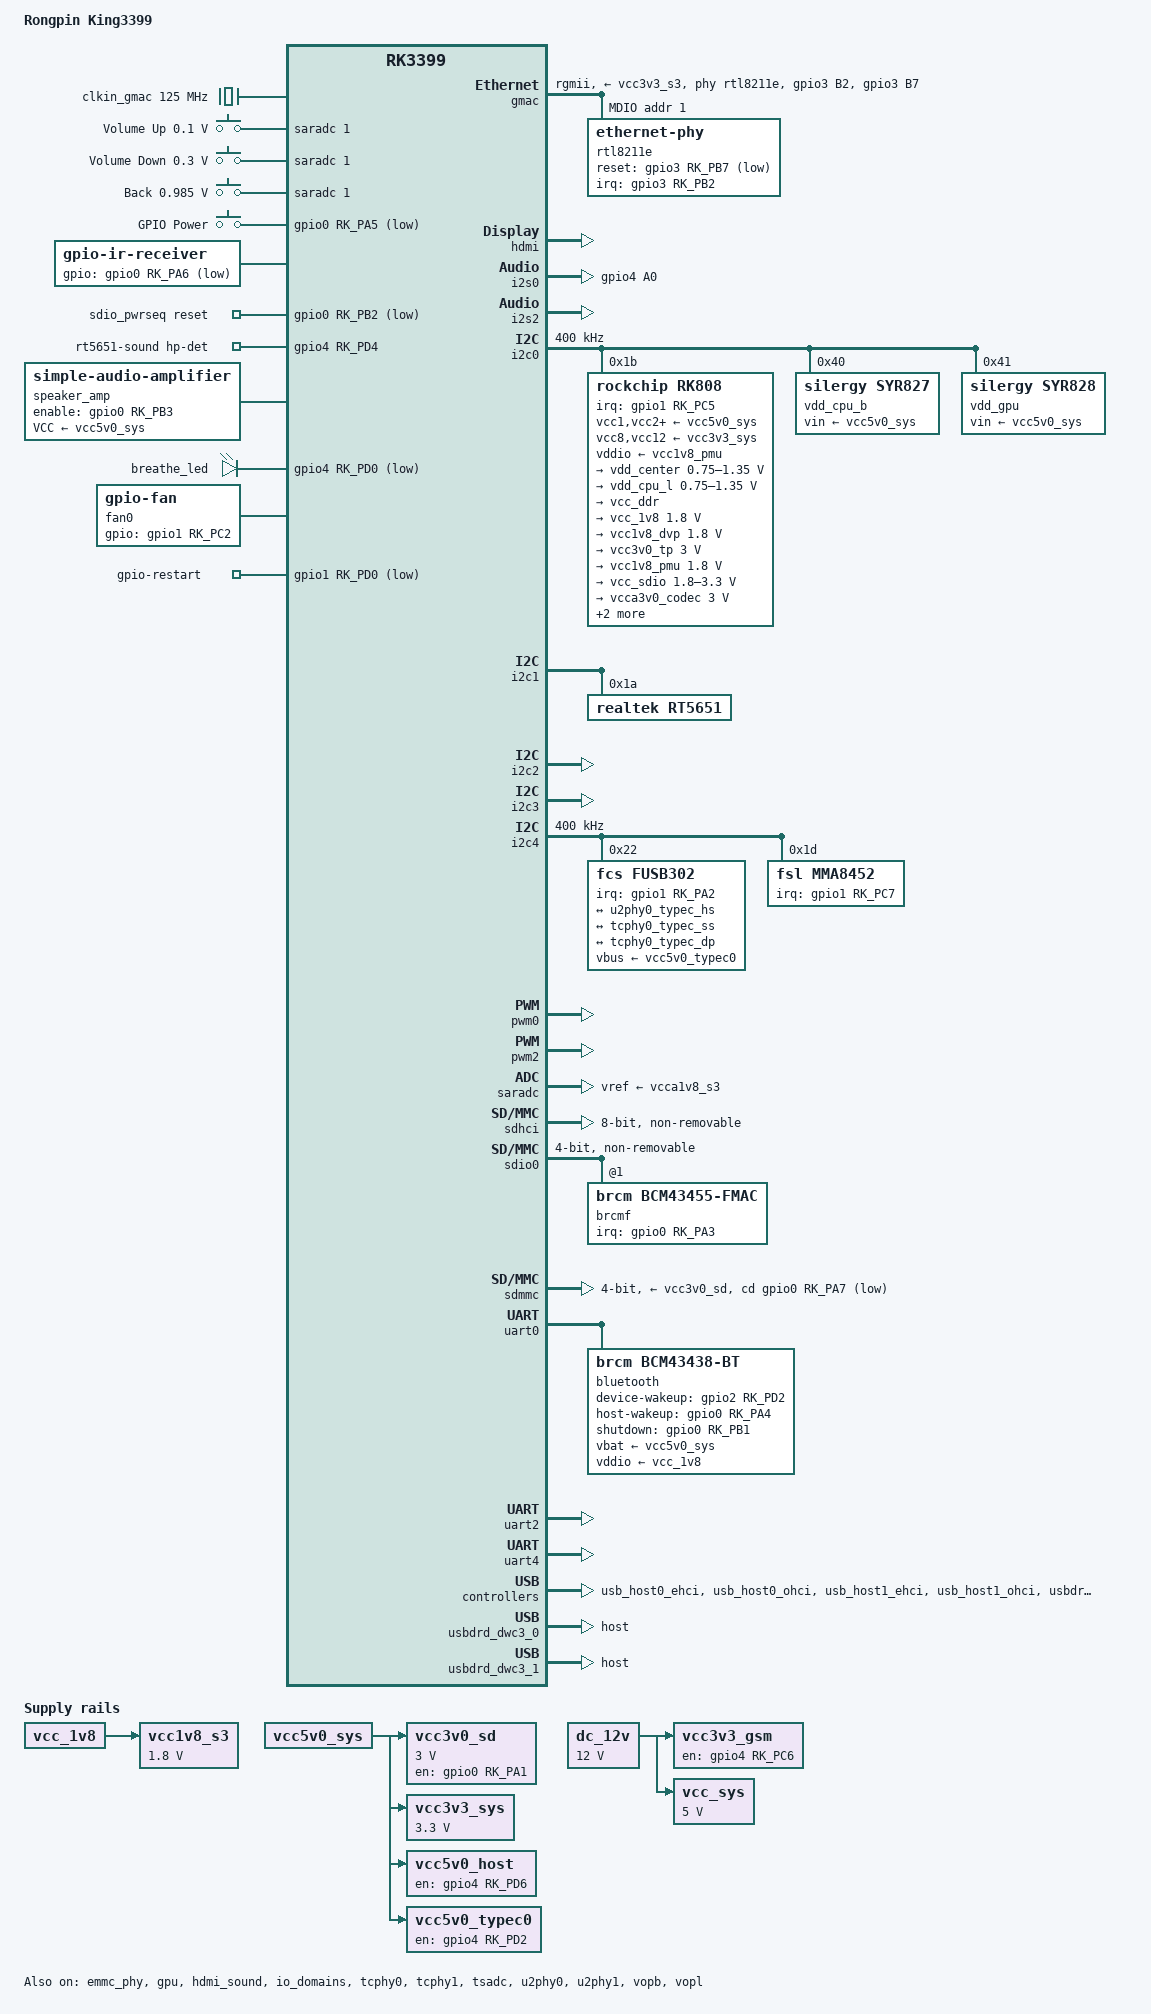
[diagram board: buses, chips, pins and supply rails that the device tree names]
// SPDX-License-Identifier: (GPL-2.0+ OR MIT)
/*
 * Copyright (c) 2017 Fuzhou Rockchip Electronics Co., Ltd.
 */

/dts-v1/;

#include <dt-bindings/pwm/pwm.h>
#include <dt-bindings/input/input.h>
#include <dt-bindings/usb/pd.h>
#include "rk3399.dtsi"
#include "rk3399-opp.dtsi"

/ {
	model = "Rongpin King3399";
	compatible = "rongpin,king3399", "rockchip,rk3399";

	aliases {
		led-boot = &breathe_led;
		led-failsafe = &breathe_led;
		led-running = &breathe_led;
		led-upgrade = &breathe_led;
		mmc0 = &sdio0;
		mmc1 = &sdmmc;
		mmc2 = &sdhci;
	};

	chosen {
		stdout-path = "serial2:1500000n8";
	};

	clkin_gmac: external-gmac-clock {
		compatible = "fixed-clock";
		clock-frequency = <125000000>;
		clock-output-names = "clkin_gmac";
		#clock-cells = <0>;
	};

	adc-keys {
		compatible = "adc-keys";
		io-channels = <&saradc 1>;
		io-channel-names = "buttons";
		keyup-threshold-microvolt = <1800000>;
		poll-interval = <100>;

		button-up {
			label = "Volume Up";
			linux,code = <KEY_VOLUMEUP>;
			press-threshold-microvolt = <100000>;
		};

		button-down {
			label = "Volume Down";
			linux,code = <KEY_VOLUMEDOWN>;
			press-threshold-microvolt = <300000>;
		};

		back {
			label = "Back";
			linux,code = <KEY_BACK>;
			press-threshold-microvolt = <985000>;
		};
	};

	keys: gpio-keys {
		compatible = "gpio-keys"; // poweroff not sure
		autorepeat;

		power {
			debounce-interval = <100>;
			gpios = <&gpio0 RK_PA5 GPIO_ACTIVE_LOW>;
			label = "GPIO Power";
			linux,code = <KEY_RESTART>;
			linux,input-type = <1>;
			pinctrl-names = "default";
			pinctrl-0 = <&pwr_btn>;
			wakeup-source;
		};
	};

	ir-receiver {
		compatible = "gpio-ir-receiver";
		gpios = <&gpio0 RK_PA6 GPIO_ACTIVE_LOW>; // bsp
		pinctrl-names = "default";
		pinctrl-0 = <&ir_int>;
	};

	backlight: backlight {
		status = "disabled";
		compatible = "pwm-backlight";
		brightness-levels = <
			  0   1   2   3   4   5   6   7
			  8   9  10  11  12  13  14  15
			 16  17  18  19  20  21  22  23
			 24  25  26  27  28  29  30  31
			 32  33  34  35  36  37  38  39
			 40  41  42  43  44  45  46  47
			 48  49  50  51  52  53  54  55
			 56  57  58  59  60  61  62  63
			 64  65  66  67  68  69  70  71
			 72  73  74  75  76  77  78  79
			 80  81  82  83  84  85  86  87
			 88  89  90  91  92  93  94  95
			 96  97  98  99 100 101 102 103
			104 105 106 107 108 109 110 111
			112 113 114 115 116 117 118 119
			120 121 122 123 124 125 126 127
			128 129 130 131 132 133 134 135
			136 137 138 139 140 141 142 143
			144 145 146 147 148 149 150 151
			152 153 154 155 156 157 158 159
			160 161 162 163 164 165 166 167
			168 169 170 171 172 173 174 175
			176 177 178 179 180 181 182 183
			184 185 186 187 188 189 190 191
			192 193 194 195 196 197 198 199
			200 201 202 203 204 205 206 207
			208 209 210 211 212 213 214 215
			216 217 218 219 220 221 222 223
			224 225 226 227 228 229 230 231
			232 233 234 235 236 237 238 239
			240 241 242 243 244 245 246 247
			248 249 250 251 252 253 254 255>;
		default-brightness-level = <200>;
		enable-gpios = <&gpio1 RK_PB5 GPIO_ACTIVE_HIGH>;
		pwms = <&pwm0 0 25000 0>;
	};

	sdio_pwrseq: sdio-pwrseq {
		compatible = "mmc-pwrseq-simple";
		clocks = <&rk808 1>;
		clock-names = "ext_clock";
		pinctrl-names = "default";
		pinctrl-0 = <&wifi_reg_on_h>;

		/*
		 * On the module itself this is one of these (depending
		 * on the actual card populated):
		 * - SDIO_RESET_L_WL_REG_ON
		 * - PDN (power down when low)
		 */
		reset-gpios = <&gpio0 RK_PB2 GPIO_ACTIVE_LOW>;
	};

	/* switched by pmic_sleep */
	vcc1v8_s3: vcca1v8_s3: vcc1v8-s3 {
		compatible = "regulator-fixed";
		regulator-name = "vcc1v8_s3";
		regulator-always-on;
		regulator-boot-on;
		regulator-min-microvolt = <1800000>;
		regulator-max-microvolt = <1800000>;
		vin-supply = <&vcc_1v8>;
	};

	vcc3v0_sd: vcc3v0-sd {
		compatible = "regulator-fixed";
		enable-active-high;
		gpio = <&gpio0 RK_PA1 GPIO_ACTIVE_HIGH>; // bsp
		pinctrl-names = "default";
		pinctrl-0 = <&sdmmc0_pwr_h>;
		regulator-boot-on;
		regulator-max-microvolt = <3000000>;
		regulator-min-microvolt = <3000000>;
		regulator-name = "vcc3v0_sd";
		vin-supply = <&vcc5v0_sys>;
	};

	vcc3v3_sys: vcc3v3-sys {
		compatible = "regulator-fixed";
		regulator-name = "vcc3v3_sys";
		regulator-always-on;
		regulator-boot-on;
		regulator-min-microvolt = <3300000>;
		regulator-max-microvolt = <3300000>;
		vin-supply = <&vcc5v0_sys>;
	};

	// 4G Module
	vcc3v3_gsm: vcc3v3-gsm {
		compatible = "regulator-fixed";
		enable-active-high;
		gpio = <&gpio4 RK_PC6 GPIO_ACTIVE_HIGH>; // bsp
		pinctrl-names = "default";
		pinctrl-0 = <&vcc3v3_gsm_en>;
		regulator-name = "vcc3v3_gsm";
		// regulator-always-on;
		vin-supply = <&dc_12v>;
	};

	// vdd 5v: USB 2&3, USB Hub, Type-C, HDMI, MIPI, IR
	vcc5v0_host: vcc5v0-host-regulator {
		compatible = "regulator-fixed";
		enable-active-high;
		regulator-boot-on;
		gpio = <&gpio4 RK_PD6 GPIO_ACTIVE_HIGH>; // bsp
		pinctrl-names = "default";
		pinctrl-0 = <&vcc5v0_host_en>;
		regulator-name = "vcc5v0_host";
		// regulator-always-on;
		vin-supply = <&vcc5v0_sys>;
	};

	vcc5v0_typec0: vbus-typec-regulator {
		compatible = "regulator-fixed";
		enable-active-high;
		gpio = <&gpio4 RK_PD2 GPIO_ACTIVE_HIGH>; // bsp
		pinctrl-names = "default";
		pinctrl-0 = <&vcc5v0_typec_en>;
		regulator-name = "vcc5v0_typec0";
		vin-supply = <&vcc5v0_sys>;
	};

	vcc_sys: vcc5v0_sys: vcc5v0-sys { // bsp
		compatible = "regulator-fixed";
		regulator-name = "vcc5v0_sys";
		regulator-always-on;
		regulator-boot-on;
		regulator-min-microvolt = <5000000>;
		regulator-max-microvolt = <5000000>;
		vin-supply = <&dc_12v>;
	};


	dc_12v: vdd_12v: dc-12v { // dc_12v vdd_12V
		compatible = "regulator-fixed";
		regulator-name = "dc_12v";
		regulator-always-on;
		regulator-boot-on;
		regulator-min-microvolt = <12000000>;
		regulator-max-microvolt = <12000000>;
	};

	rt5651-sound { // verify
		status = "okay";
		compatible = "simple-audio-card";
		pinctrl-names = "default";
		pinctrl-0 = <&hp_det>;

		simple-audio-card,name = "realtek,rt5651-codec";
		simple-audio-card,format = "i2s";
		simple-audio-card,mclk-fs = <256>;
		simple-audio-card,hp-det-gpio = <&gpio4 RK_PD4 GPIO_ACTIVE_HIGH>;
		simple-audio-card,aux-devs = <&speaker_amp>;
		simple-audio-card,pin-switches = "Speaker";
		simple-audio-card,widgets =
			"Microphone", "Mic Jack",
			"Headphone", "Headphones",
			"Speaker", "Speaker";
		simple-audio-card,routing =
			"Mic Jack", "micbias1",
			"Headphones", "HPOL",
			"Headphones", "HPOR",
			"Speaker Amplifier INL", "HPOL",
			"Speaker Amplifier INR", "HPOR",
			"Speaker", "Speaker Amplifier OUTL",
			"Speaker", "Speaker Amplifier OUTR";
		simple-audio-card,cpu {
			sound-dai = <&i2s0>;
		};
		simple-audio-card,codec {
			sound-dai = <&rt5651>;
		};
	};

	speaker_amp: speaker-amplifier { // verify
		compatible = "simple-audio-amplifier";
		pinctrl-names = "default";
		pinctrl-0 = <&spk_ctl>;
		enable-gpios = <&gpio0 RK_PB3 GPIO_ACTIVE_HIGH>;
		sound-name-prefix = "Speaker Amplifier";
		VCC-supply = <&vcc5v0_sys>;
	};

	leds {
		compatible = "gpio-leds";
		pinctrl-names = "default";
		pinctrl-0 = <&breathe_led_pin>;

		breathe_led: led-breathe-led { // bsp // vdd_12V
			label = "breathe_led";
			linux,default-trigger = "heartbeat";
			default-state = "off";
			gpios = <&gpio4 RK_PD0 GPIO_ACTIVE_LOW>;
		};
	};

	fan0: gpio-fan { // verify // vcc5v0_sys
		#cooling-cells = <2>;
		compatible = "gpio-fan";
		gpio-fan,speed-map = <0 0 3000 1>;
		gpios = <&gpio1 RK_PC2 GPIO_ACTIVE_HIGH>;
		status = "okay";
	};

	gpio-restart {
		compatible = "gpio-restart";
		gpios = <&gpio1 RK_PD0 GPIO_ACTIVE_LOW>;
		pinctrl-names = "default";
		pinctrl-0 = <&hub_rst>;
		priority = <200>;
		active-delay = <100>;
		inactive-delay = <10>;
		wait-delay = <100>;
	};

};

&cpu_l0 {
	cpu-supply = <&vdd_cpu_l>;
};

&cpu_l1 {
	cpu-supply = <&vdd_cpu_l>;
};

&cpu_l2 {
	cpu-supply = <&vdd_cpu_l>;
};

&cpu_l3 {
	cpu-supply = <&vdd_cpu_l>;
};

&cpu_b0 {
	cpu-supply = <&vdd_cpu_b>;
};

&cpu_b1 {
	cpu-supply = <&vdd_cpu_b>;
};

&cpu_thermal { // verify
	trips {
		cpu_hot: cpu_hot {
			hysteresis = <10000>;
			temperature = <55000>;
			type = "active";
		};
	};

	cooling-maps {
		map2 {
			cooling-device =
				<&fan0 THERMAL_NO_LIMIT THERMAL_NO_LIMIT>;
			trip = <&cpu_hot>;
		};
	};
};

&emmc_phy {
	status = "okay";
};

&gmac {
	assigned-clocks = <&cru SCLK_RMII_SRC>;
	assigned-clock-parents = <&clkin_gmac>;
	clock_in_out = "input";
	phy-supply = <&vcc3v3_s3>;
	phy-mode = "rgmii";
	phy-handle = <&rtl8211e>;
	pinctrl-names = "default";
	pinctrl-0 = <&rgmii_pins>, <&phy_intb>, <&phy_rstb>;
	tx_delay = <0x28>;
	rx_delay = <0x11>;
	status = "okay";

	mdio {
		compatible = "snps,dwmac-mdio";
		#address-cells = <1>;
		#size-cells = <0>;

		rtl8211e: ethernet-phy@1 {
			reg = <1>;
			interrupt-parent = <&gpio3>;
			interrupts = <RK_PB2 IRQ_TYPE_LEVEL_LOW>;
			reset-assert-us = <10000>;
			reset-deassert-us = <30000>;
			reset-gpios = <&gpio3 RK_PB7 GPIO_ACTIVE_LOW>;
		};
	};
};

/*
&gmac {
	assigned-clocks = <&cru SCLK_RMII_SRC>;
	assigned-clock-parents = <&clkin_gmac>;
	clock_in_out = "input";
	phy-supply = <&vcc_lan>;
	phy-mode = "rgmii";
	pinctrl-names = "default";
	pinctrl-0 = <&rgmii_pins>;
	snps,reset-gpio = <&gpio3 RK_PB7 GPIO_ACTIVE_LOW>;
	snps,reset-active-low;
	snps,reset-delays-us = <0 10000 50000>;
	tx_delay = <0x28>;
	rx_delay = <0x11>;
	status = "okay";
};
*/

&gpu {
	mali-supply = <&vdd_gpu>;
	status = "okay";
};

&hdmi {
	ddc-i2c-bus = <&i2c3>;
	status = "okay";
};

&hdmi_sound {
	status = "okay";
};

&i2s0 {
	pinctrl-names = "default";
	pinctrl-0 = <&i2s_8ch_mclk_pin>, <&i2s0_2ch_bus>;
	#sound-dai-cells = <0>;
	rockchip,capture-channels = <8>;
	rockchip,playback-channels = <8>;
	status = "okay";
};

&i2s2 {
	#sound-dai-cells = <0>;
	status = "okay";
};

&i2c0 {
	clock-frequency = <400000>;
	i2c-scl-rising-time-ns = <168>;
	i2c-scl-falling-time-ns = <4>;
	status = "okay";

	rk808: pmic@1b { // bsp checked
		compatible = "rockchip,rk808";
		reg = <0x1b>;
		interrupt-parent = <&gpio1>;
		interrupts = <RK_PC5 IRQ_TYPE_LEVEL_LOW>;
		#clock-cells = <1>;
		clock-output-names = "rk808-clkout1", "rk808-clkout2"; // bsp
		pinctrl-names = "default";
		pinctrl-0 = <&pmic_int_l &pmic_dvs2>;
		rockchip,system-power-controller;
		wakeup-source;

		vcc1-supply = <&vcc5v0_sys>;
		vcc2-supply = <&vcc5v0_sys>;
		vcc3-supply = <&vcc5v0_sys>;
		vcc4-supply = <&vcc5v0_sys>;
		vcc6-supply = <&vcc5v0_sys>;
		vcc7-supply = <&vcc5v0_sys>;
		vcc8-supply = <&vcc3v3_sys>;
		vcc9-supply = <&vcc5v0_sys>;
		vcc10-supply = <&vcc5v0_sys>;
		vcc11-supply = <&vcc5v0_sys>;
		vcc12-supply = <&vcc3v3_sys>;
		vddio-supply = <&vcc1v8_pmu>;

		regulators {
			vdd_center: DCDC_REG1 {
				regulator-name = "vdd_center";
				regulator-always-on;
				regulator-boot-on;
				regulator-min-microvolt = <750000>;
				regulator-max-microvolt = <1350000>;
				regulator-ramp-delay = <6001>;
				regulator-state-mem {
					regulator-off-in-suspend;
				};
			};

			vdd_cpu_l: DCDC_REG2 {
				regulator-name = "vdd_cpu_l";
				regulator-always-on;
				regulator-boot-on;
				regulator-min-microvolt = <750000>;
				regulator-max-microvolt = <1350000>;
				regulator-ramp-delay = <6001>;
				regulator-state-mem {
					regulator-off-in-suspend;
				};
			};

			vcc_ddr: DCDC_REG3 {
				regulator-name = "vcc_ddr";
				regulator-always-on;
				regulator-boot-on;
				regulator-state-mem {
					regulator-on-in-suspend;
				};
			};

			vcc_1v8: DCDC_REG4 {
				regulator-name = "vcc_1v8";
				regulator-always-on;
				regulator-boot-on;
				regulator-min-microvolt = <1800000>;
				regulator-max-microvolt = <1800000>;
				regulator-state-mem {
					regulator-on-in-suspend;
					regulator-suspend-microvolt = <1800000>;
				};
			};

			vcc1v8_dvp: LDO_REG1 {
				regulator-name = "vcc1v8_dvp";
				regulator-always-on;
				regulator-boot-on;
				regulator-min-microvolt = <1800000>;
				regulator-max-microvolt = <1800000>;
				regulator-state-mem {
					regulator-off-in-suspend;
				};
			};

			vcc3v0_tp: LDO_REG2 {
				regulator-name = "vcc3v0_tp";
				regulator-always-on;
				regulator-boot-on;
				regulator-min-microvolt = <3000000>;
				regulator-max-microvolt = <3000000>;
				regulator-state-mem {
					regulator-off-in-suspend;
				};
			};

			vcc1v8_pmu: LDO_REG3 {
				regulator-name = "vcc1v8_pmu";
				regulator-always-on;
				regulator-boot-on;
				regulator-min-microvolt = <1800000>;
				regulator-max-microvolt = <1800000>;
				regulator-state-mem {
					regulator-on-in-suspend;
					regulator-suspend-microvolt = <1800000>;
				};
			};

			vcc_sdio: LDO_REG4 {
				regulator-name = "vcc_sdio";
				regulator-always-on;
				regulator-boot-on;
				regulator-min-microvolt = <1800000>;
				regulator-max-microvolt = <3300000>;
				regulator-state-mem {
					regulator-on-in-suspend;
					regulator-suspend-microvolt = <3000000>;
				};
			};

			vcca3v0_codec: LDO_REG5 {
				regulator-name = "vcca3v0_codec";
				regulator-always-on;
				regulator-boot-on;
				regulator-min-microvolt = <3000000>;
				regulator-max-microvolt = <3000000>;
				regulator-state-mem {
					regulator-off-in-suspend;
				};
			};

			vcc_1v5: LDO_REG6 {
				regulator-name = "vcc_1v5";
				regulator-always-on;
				regulator-boot-on;
				regulator-min-microvolt = <1500000>;
				regulator-max-microvolt = <1500000>;
				regulator-state-mem {
					regulator-on-in-suspend;
					regulator-suspend-microvolt = <1500000>;
				};
			};

			vcca1v8_codec: LDO_REG7 {
				regulator-name = "vcca1v8_codec";
				regulator-always-on;
				regulator-boot-on;
				regulator-min-microvolt = <1800000>;
				regulator-max-microvolt = <1800000>;
				regulator-state-mem {
					regulator-off-in-suspend;
				};
			};

			vcc_3v0: LDO_REG8 {
				regulator-name = "vcc_3v0";
				regulator-always-on;
				regulator-boot-on;
				regulator-min-microvolt = <3000000>;
				regulator-max-microvolt = <3000000>;
				regulator-state-mem {
					regulator-on-in-suspend;
					regulator-suspend-microvolt = <3000000>;
				};
			};

			vcc3v3_s3: vcc_lan: SWITCH_REG1 {
				regulator-name = "vcc3v3_s3";
				regulator-always-on;
				regulator-boot-on;
				regulator-state-mem {
					regulator-off-in-suspend;
				};
			};

			vcc3v3_s0: SWITCH_REG2 {
				regulator-name = "vcc3v3_s0";
				regulator-always-on;
				regulator-boot-on;
				regulator-state-mem {
					regulator-off-in-suspend;
				};
			};
		};
	};

	vdd_cpu_b: regulator@40 { // bsp checked
		compatible = "silergy,syr827";
		reg = <0x40>;
		fcs,suspend-voltage-selector = <1>;
		pinctrl-names = "default";
		pinctrl-0 = <&cpu_b_sleep>;
		regulator-name = "vdd_cpu_b";
		regulator-min-microvolt = <712500>;
		regulator-max-microvolt = <1500000>;
		regulator-ramp-delay = <1000>;
		regulator-always-on;
		regulator-boot-on;
		vin-supply = <&vcc5v0_sys>;

		regulator-state-mem {
			regulator-off-in-suspend;
		};
	};

	vdd_gpu: regulator@41 { // bsp checked
		compatible = "silergy,syr828";
		reg = <0x41>;
		fcs,suspend-voltage-selector = <1>;
		pinctrl-names = "default";
		pinctrl-0 = <&gpu_sleep>;
		regulator-name = "vdd_gpu";
		regulator-min-microvolt = <712500>;
		regulator-max-microvolt = <1500000>;
		regulator-ramp-delay = <1000>;
		regulator-always-on;
		regulator-boot-on;
		vin-supply = <&vcc5v0_sys>;

		regulator-state-mem {
			regulator-off-in-suspend;
		};
	};
};

&i2c1 {
	i2c-scl-rising-time-ns = <300>;
	i2c-scl-falling-time-ns = <15>;
	status = "okay";

	rt5651: rt5651@1a {
		#sound-dai-cells = <0>;
		compatible = "realtek,rt5651";
		reg = <0x1a>;
		clocks = <&cru SCLK_I2S_8CH_OUT>;
		clock-names = "mclk";
		status = "okay";
	};
};

&i2c2 {
	status = "okay";
};

// Used for HDMI
&i2c3 {
	i2c-scl-rising-time-ns = <450>;
	i2c-scl-falling-time-ns = <15>;
	status = "okay";
};

// Type-C
// Accelerometer
// Touch Screen 
&i2c4 {
	clock-frequency = <400000>;
	i2c-scl-rising-time-ns = <450>;
	i2c-scl-falling-time-ns = <15>;
	status = "okay";

	fusb302@22 { // bsp checked
		compatible = "fcs,fusb302";
		reg = <0x22>;
		interrupt-parent = <&gpio1>;
		interrupts = <RK_PA2 IRQ_TYPE_LEVEL_LOW>; // bsp
		pinctrl-names = "default";
		pinctrl-0 = <&chg_cc_int_l>;
		vbus-supply = <&vcc5v0_typec0>;

		typec_con: connector {
			compatible = "usb-c-connector";
			data-role = "host";
			label = "USB-C";
			op-sink-microwatt = <1000000>;
			power-role = "dual";
			sink-pdos =
				<PDO_FIXED(5000, 2500, PDO_FIXED_USB_COMM)>;
			source-pdos =
				<PDO_FIXED(5000, 1400, PDO_FIXED_USB_COMM)>;
			try-power-role = "sink";

			ports {
				#address-cells = <1>;
				#size-cells = <0>;

				port@0 {
					reg = <0>;
					typec_hs: endpoint {
						remote-endpoint = <&u2phy0_typec_hs>;
					};
				};
				port@1 {
					reg = <1>;
					typec_ss: endpoint {
						remote-endpoint = <&tcphy0_typec_ss>;
					};
				};
				port@2 {
					reg = <2>;
					typec_dp: endpoint {
						remote-endpoint = <&tcphy0_typec_dp>;
					};
				};
			};
		};
	};

	mma8452: mma8452@1d {
		compatible = "fsl,mma8452";
		reg = <0x1d>;
		interrupt-parent = <&gpio1>;
		interrupts = <RK_PC7 IRQ_TYPE_EDGE_RISING>;
		pinctrl-names = "default";
		pinctrl-0 = <&gsensor_int>;
	};
};

&io_domains { // bsp checked
	status = "okay";
	bt656-supply = <&vcc_1v8>;
	audio-supply = <&vcca1v8_codec>;
	sdmmc-supply = <&vcc_sdio>;
	gpio1830-supply = <&vcc_3v0>;
};

&pmu_io_domains { // bsp checked
	status = "okay";
	pmu1830-supply = <&vcc_1v8>;
};

&hdmi { // bsp
	ddc-i2c-bus = <&i2c3>;
	status = "okay";
};

// &cpu_thermal {
// 	trips {
// 		cpu_hot: cpu_hot {
// 			hysteresis = <10000>;
// 			temperature = <65000>;
// 			type = "active";
// 		};
// 	};

// 	cooling-maps {
// 		map2 {
// 			cooling-device = <&fan0 THERMAL_NO_LIMIT THERMAL_NO_LIMIT>;
// 			trip = <&cpu_hot>;
// 		};
// 	};
// };

&pinctrl {
	buttons {
		pwr_btn: pwr-btn {
			rockchip,pins = <0 RK_PA5 RK_FUNC_GPIO &pcfg_pull_up>;
		};
	};

	fan {
		motor_pwr: motor-pwr {
			rockchip,pins = <1 RK_PC2 RK_FUNC_GPIO &pcfg_pull_none>;
		};
	};

	ir {
		ir_int: ir-int {
			rockchip,pins = <0 RK_PA6 RK_FUNC_GPIO &pcfg_pull_none>; // bsp
		};
	};

	gmac {
		phy_intb: phy-intb {
			rockchip,pins = <3 RK_PB2 RK_FUNC_GPIO &pcfg_pull_up>; // verify
		};

		phy_rstb: phy-rstb {
			rockchip,pins = <3 RK_PB7 RK_FUNC_GPIO &pcfg_pull_none>; // verify
		};
	};

	pmic {
		cpu_b_sleep: cpu-b-sleep {
			rockchip,pins = <1 RK_PC1 RK_FUNC_GPIO &pcfg_pull_down>; // verify
		};

		gpu_sleep: gpu-sleep {
			rockchip,pins = <1 RK_PB6 RK_FUNC_GPIO &pcfg_pull_down>; // verify
		};

		pmic_int_l: pmic-int-l {
			rockchip,pins = <1 RK_PC5 RK_FUNC_GPIO &pcfg_pull_up>; // verify
		};

		pmic_dvs2: pmic-dvs2 {
			rockchip,pins = <1 RK_PA5 RK_FUNC_GPIO &pcfg_pull_down>;
		};
	};

	sd {
		sdmmc0_pwr_h: sdmmc0-pwr-h {
			rockchip,pins = <0 RK_PA1 RK_FUNC_GPIO &pcfg_pull_none>; // bsp
		};
	};

	usb2 {
		vcc5v0_host_en: vcc5v0-host-en {
			rockchip,pins = <4 RK_PD6 RK_FUNC_GPIO &pcfg_pull_none>; // bsp
		};

		vcc5v0_typec_en: vcc5v0-typec-en {
			rockchip,pins = <4 RK_PD2 RK_FUNC_GPIO &pcfg_pull_none>; // bsp
		};

		hub_rst: hub-rst {
			rockchip,pins = <1 RK_PD0 RK_FUNC_GPIO &pcfg_pull_none>;
		};
	};

	sdio-pwrseq {
		wifi_reg_on_h: wifi-reg-on-h {
			rockchip,pins = <0 RK_PB2 RK_FUNC_GPIO &pcfg_pull_none>; // checked
		};
	};

	wifi {
		wifi_host_wake_l: wifi-host-wake-l {
			rockchip,pins = <0 RK_PA3 RK_FUNC_GPIO &pcfg_pull_none>; // checked
		};
	};

	bluetooth {
		bt_reg_on_h: bt-enable-h {
			rockchip,pins = <0 RK_PB1 RK_FUNC_GPIO &pcfg_pull_none>; // checked
		};

		bt_host_wake_l: bt-host-wake-l {
			rockchip,pins = <0 RK_PA4 RK_FUNC_GPIO &pcfg_pull_none>; // checked
		};

		bt_wake_l: bt-wake-l {
			rockchip,pins = <2 RK_PD2 RK_FUNC_GPIO &pcfg_pull_none>; // checked
		};
	};

	fusb302 {
		chg_cc_int_l: chg-cc-int-l {
			rockchip,pins = <1 RK_PA2 RK_FUNC_GPIO &pcfg_pull_up>; // bsp
		};
	};

	leds {
		breathe_led_pin: breathe-led-pin {
			rockchip,pins = <4 RK_PD0 RK_FUNC_GPIO &pcfg_pull_none>; // bsp
		};
	};

	gsm {
		vcc3v3_gsm_en: vcc3v3-gsm-en {
			rockchip,pins = <4 RK_PC6 RK_FUNC_GPIO &pcfg_pull_none>; // bsp
		};
	};

	headphone {
		hp_det: hp-det {
			rockchip,pins = <4 RK_PD4 RK_FUNC_GPIO &pcfg_pull_up>; // verify
		};
		spk_ctl: spk-ctl {
			rockchip,pins = <0 RK_PB3 RK_FUNC_GPIO &pcfg_pull_up>; // verify
		};
	};

	mma8452 {
		gsensor_int: gsensor-int {
			rockchip,pins = <1 RK_PC7 RK_FUNC_GPIO &pcfg_pull_up>; // bsp
		};
	};

	i2s0 {
		i2s_8ch_mclk_pin: i2s-8ch-mclk-pin {
			rockchip,pins = <4 RK_PA0 1 &pcfg_pull_none>; // verify
		};
	};
};

&pwm0 {
	status = "okay";
};

&pwm2 {
	status = "okay";
};

&saradc {
	vref-supply = <&vcca1v8_s3>;
	status = "okay";
};

&sdhci {
	bus-width = <8>;
	mmc-hs400-1_8v;
	mmc-hs400-enhanced-strobe;
	// keep-power-in-suspend;
	non-removable;
	status = "okay";
};

&sdio0 {
	bus-width = <4>;
	cap-sd-highspeed;
	cap-sdio-irq;
	clock-frequency = <50000000>;
	disable-wp;
	keep-power-in-suspend;
	max-frequency = <50000000>;
	mmc-pwrseq = <&sdio_pwrseq>;
	non-removable;
	pinctrl-names = "default";
	pinctrl-0 = <&sdio0_bus4 &sdio0_cmd &sdio0_clk>;
	sd-uhs-sdr104;
	#address-cells = <1>;
	#size-cells = <0>;
	status = "okay";

	brcmf: wifi@1 {
		reg = <1>;
		compatible = "brcm,bcm43455-fmac";
		interrupt-parent = <&gpio0>;
		interrupts = <RK_PA3 GPIO_ACTIVE_HIGH>; // bsp verify
		interrupt-names = "host-wake";
		pinctrl-names = "default";
		pinctrl-0 = <&wifi_host_wake_l>;
	};
};

&sdmmc {
	bus-width = <4>;
	cap-mmc-highspeed;
	cap-sd-highspeed;
	cd-gpios = <&gpio0 RK_PA7 GPIO_ACTIVE_LOW>; // checked
	clock-frequency = <150000000>;
	disable-wp;
	max-frequency = <150000000>;
	pinctrl-names = "default";
	pinctrl-0 = <&sdmmc_clk &sdmmc_cmd &sdmmc_cd &sdmmc_bus4>;
	vmmc-supply = <&vcc3v0_sd>;
	vqmmc-supply = <&vcc_sdio>;
	status = "okay";
};

&tcphy0 { // verify
	status = "okay";
};

&tcphy0_dp { // verify
	port {
		tcphy0_typec_dp: endpoint {
			remote-endpoint = <&typec_dp>;
		};
	};
};

&tcphy0_usb3 { // verify
	port {
		tcphy0_typec_ss: endpoint {
			remote-endpoint = <&typec_ss>;
		};
	};
};

&tcphy1 { // verify
	status = "okay";
};

&tsadc {
	/* tshut mode 0:CRU 1:GPIO */
	rockchip,hw-tshut-mode = <1>;
	/* tshut polarity 0:LOW 1:HIGH */
	rockchip,hw-tshut-polarity = <1>;
	status = "okay";
};

&u2phy0 {
	status = "okay";

	u2phy0_otg: otg-port {
		phy-supply = <&vcc5v0_typec0>;
		status = "okay";
	};

	u2phy0_host: host-port {
		phy-supply = <&vcc5v0_host>;
		status = "okay";
	};

	port {
		u2phy0_typec_hs: endpoint {
			remote-endpoint = <&typec_hs>;
		};
	};
};

&u2phy1 {
	status = "okay";

	u2phy1_otg: otg-port {
		status = "okay";
	};

	u2phy1_host: host-port {
		phy-supply = <&vcc5v0_host>;
		status = "okay";
	};
};

&uart0 {
	pinctrl-names = "default";
	pinctrl-0 = <&uart0_xfer &uart0_cts &uart0_rts>;
	status = "okay";

	bluetooth {
		compatible = "brcm,bcm43438-bt";
		clocks = <&rk808 1>;
		clock-names = "lpo";
		device-wakeup-gpios = <&gpio2 RK_PD2 GPIO_ACTIVE_HIGH>;
		host-wakeup-gpios = <&gpio0 RK_PA4 GPIO_ACTIVE_HIGH>;
		shutdown-gpios = <&gpio0 RK_PB1 GPIO_ACTIVE_HIGH>;
		pinctrl-names = "default";
		pinctrl-0 = <&bt_host_wake_l &bt_wake_l &bt_reg_on_h>;
		vbat-supply = <&vcc5v0_sys>;
		vddio-supply = <&vcc_1v8>;
	};
};

&uart2 {
	status = "okay";
};

&uart4 {
	status = "okay";
};

&spi1 {
	status = "disabled";
};

&usb_host0_ehci {
	status = "okay";
};

&usb_host0_ohci {
	status = "okay";
};

&usb_host1_ehci {
	status = "okay";
};

&usb_host1_ohci {
	status = "okay";
};

&usbdrd3_0 {
	status = "okay";
};

&usbdrd_dwc3_0 {
	status = "okay";
	dr_mode = "host";
};

&usbdrd3_1 {
	status = "okay";
};

&usbdrd_dwc3_1 {
	status = "okay";
	dr_mode = "host";
};

&vopb {
	status = "okay";
};

&vopb_mmu {
	status = "okay";
};

&vopl {
	status = "okay";
};

&vopl_mmu {
	status = "okay";
};
